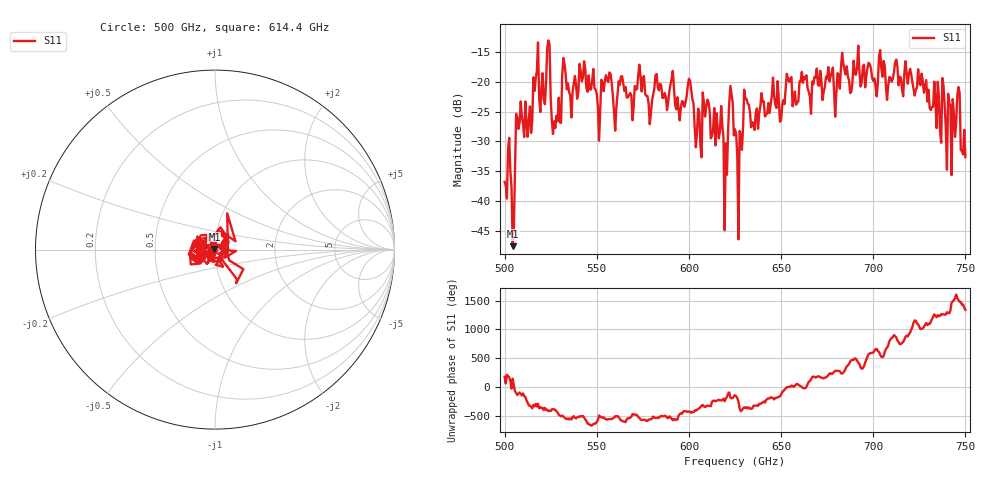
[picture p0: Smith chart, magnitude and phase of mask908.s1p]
!Created with skrf (http://scikit-rf.org).
# GHz S MA R 50.0
!freq magS11 angS11
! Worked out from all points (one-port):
!   401 points, 500 GHz to 750 GHz, reference 50 ohm
!   lowest |S11| = -47.6 dB at 504.4 GHz (marker M1), VSWR 1.01, Z = 49.7 + j0.242 ohm
!   |S11| at or under -10 dB: start of sweep to end of sweep
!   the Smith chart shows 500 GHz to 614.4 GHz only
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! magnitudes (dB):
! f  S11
! 500 GHz  -36.8
! 502.5 GHz  -29.4
! 504.4 GHz  -47.6
! 507.5 GHz  -27.9
! 513.8 GHz  -24.1
! 516.9 GHz  -19.4
! 520.6 GHz  -18.6
! 523.8 GHz  -13.1
! 526.9 GHz  -26.6
! 531.2 GHz  -18.9
! 560 GHz  -28.2
! 562.5 GHz  -20.5
! 593.8 GHz  -22.6
! 600.6 GHz  -19.8
! 605.6 GHz  -25.2
! 608.8 GHz  -25.9
! 620 GHz  -30.3
! 622.5 GHz  -20.7
! 625 GHz  -28.0
! 627.5 GHz  -28.3
! 631.2 GHz  -22.9
! 635 GHz  -26.9
! 656.2 GHz  -24.1
! 687.5 GHz  -21.9
! 718.8 GHz  -20.3
! 741.2 GHz  -23.6
! 745.6 GHz  -22.3
! 750 GHz  -32.7
